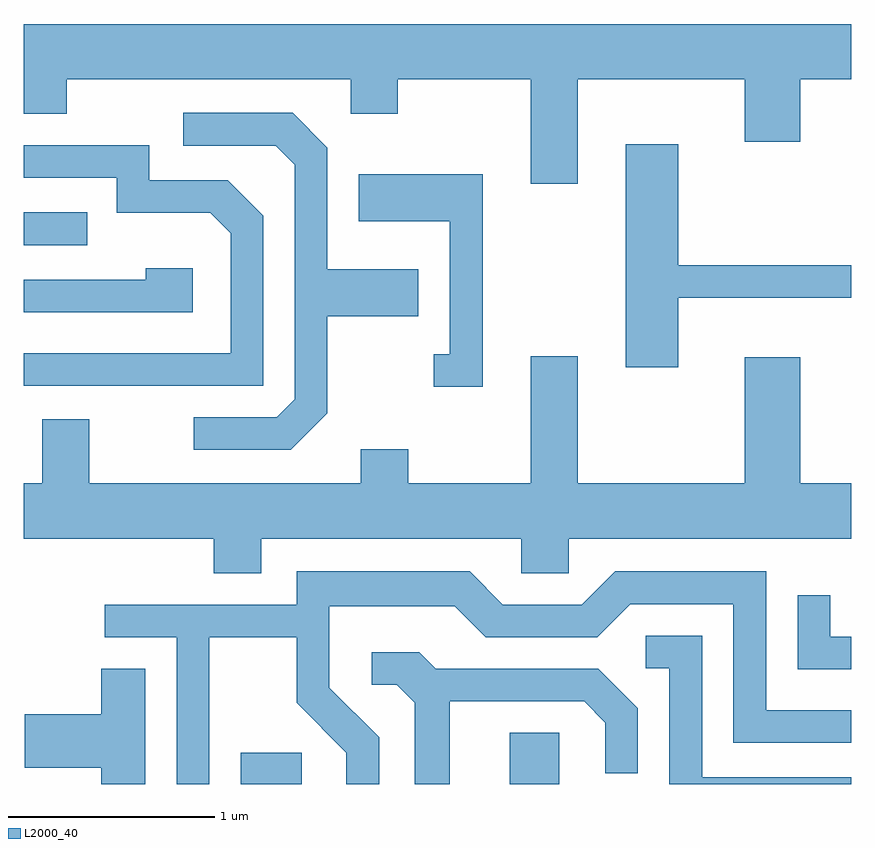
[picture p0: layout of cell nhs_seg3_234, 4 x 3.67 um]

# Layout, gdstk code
import gdstk
lib = gdstk.Library(unit=1e-6, precision=1e-09)
def R(c, l, rs):  # rectangles x0, y0, x1, y1
    for r in rs: c.add(gdstk.rectangle(r[:2], r[2:], *l))
def P(c, l, *ps):  # polygons
    for p in ps: c.add(gdstk.Polygon(p, *l))
L2000_40 = (2000, 40)

nhs_seg3_234 = lib.new_cell('nhs_seg3_234')
R(nhs_seg3_234, L2000_40, [(192.661,1175.892,192.954,1176.044), (193.961,1175.892,194.199,1176.139), (191.611,1178.496,191.918,1178.654)])
P(nhs_seg3_234, L2000_40, [(194.289,1179.296),(195.096,1179.296),(195.096,1178.996),(195.364,1178.996),(195.364,1179.296),(195.611,1179.296),(195.611,1179.564),(191.611,1179.564),(191.611,1179.131),(191.819,1179.131),(191.819,1179.296),(193.191,1179.296),(193.191,1179.131),(193.419,1179.131),(193.419,1179.296),(194.061,1179.296),(194.061,1178.791),(194.289,1178.791)],
  [(193.079,1177.684),(193.079,1178.151),(193.519,1178.151),(193.519,1178.379),(193.079,1178.379),(193.079,1178.967),(192.912,1179.134),(192.383,1179.134),(192.383,1178.976),(192.829,1178.976),(192.921,1178.884),(192.921,1177.752),(192.834,1177.664),(192.433,1177.664),(192.433,1177.506),(192.902,1177.506)],
  [(194.774,1178.241),(195.611,1178.241),(195.611,1178.399),(194.774,1178.399),(194.774,1178.984),(194.521,1178.984),(194.521,1177.906),(194.774,1177.906)],
  [(192.769,1178.637),(192.597,1178.809),(192.219,1178.809),(192.219,1178.979),(191.611,1178.979),(191.611,1178.821),(192.061,1178.821),(192.061,1178.651),(192.514,1178.651),(192.611,1178.554),(192.611,1177.974),(191.611,1177.974),(191.611,1177.816),(192.769,1177.816)],
  [(193.829,1178.839),(193.231,1178.839),(193.231,1178.611),(193.671,1178.611),(193.671,1177.969),(193.593,1177.969),(193.593,1177.811),(193.829,1177.811)],
  [(192.429,1178.384),(192.201,1178.384),(192.201,1178.329),(191.611,1178.329),(191.611,1178.171),(192.429,1178.171)],
  [(192.759,1177.076),(194.016,1177.076),(194.016,1176.911),(194.244,1176.911),(194.244,1177.076),(195.611,1177.076),(195.611,1177.344),(195.364,1177.344),(195.364,1177.954),(195.096,1177.954),(195.096,1177.344),(194.289,1177.344),(194.289,1177.959),(194.061,1177.959),(194.061,1177.344),(193.469,1177.344),(193.469,1177.509),(193.241,1177.509),(193.241,1177.344),(191.929,1177.344),(191.929,1177.654),(191.701,1177.654),(191.701,1177.344),(191.611,1177.344),(191.611,1177.076),(192.531,1177.076),(192.531,1176.911),(192.759,1176.911)],
  [(192.509,1176.601),(192.931,1176.601),(192.931,1176.284),(193.171,1176.044),(193.171,1175.892),(193.329,1175.892),(193.329,1176.117),(193.089,1176.357),(193.089,1176.751),(193.694,1176.751),(193.844,1176.601),(194.382,1176.601),(194.542,1176.761),(195.041,1176.761),(195.041,1176.091),(195.611,1176.091),(195.611,1176.249),(195.199,1176.249),(195.199,1176.919),(194.469,1176.919),(194.309,1176.759),(193.927,1176.759),(193.767,1176.919),(192.931,1176.919),(192.931,1176.759),(192.003,1176.759),(192.003,1176.601),(192.351,1176.601),(192.351,1175.892),(192.509,1175.892)],
  [(195.611,1176.604),(195.509,1176.604),(195.509,1176.803),(195.351,1176.803),(195.351,1176.446),(195.611,1176.446)],
  [(195.611,1175.924),(194.889,1175.924),(194.889,1176.609),(194.618,1176.609),(194.618,1176.451),(194.731,1176.451),(194.731,1175.892),(195.611,1175.892)],
  [(193.669,1176.291),(194.319,1176.291),(194.421,1176.189),(194.421,1175.943),(194.579,1175.943),(194.579,1176.257),(194.387,1176.449),(193.602,1176.449),(193.522,1176.529),(193.293,1176.529),(193.293,1176.371),(193.414,1176.371),(193.501,1176.284),(193.501,1175.892),(193.669,1175.892)],
  [(192.199,1176.449),(191.986,1176.449),(191.986,1176.229),(191.616,1176.229),(191.616,1175.971),(191.986,1175.971),(191.986,1175.892),(192.199,1175.892)])

lib.write_gds('nhs_seg3_234.gds')
